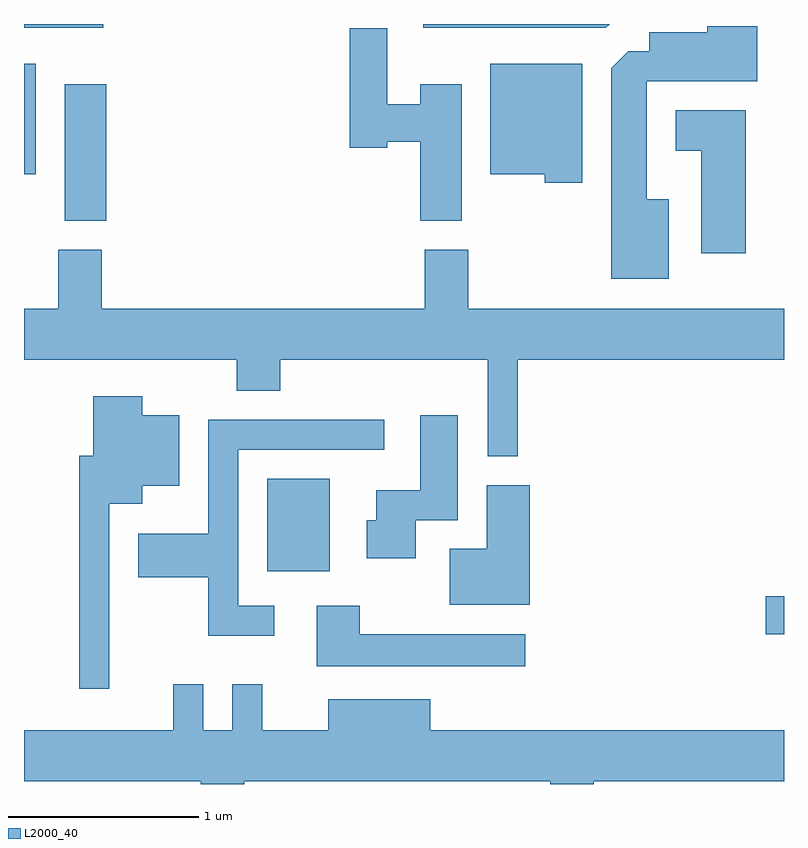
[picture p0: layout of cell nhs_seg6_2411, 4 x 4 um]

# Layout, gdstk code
import gdstk
lib = gdstk.Library(unit=1e-6, precision=1e-09)
def R(c, l, rs):  # rectangles x0, y0, x1, y1
    for r in rs: c.add(gdstk.rectangle(r[:2], r[2:], *l))
def P(c, l, *ps):  # polygons
    for p in ps: c.add(gdstk.Polygon(p, *l))
L2000_40 = (2000, 40)

nhs_seg6_2411 = lib.new_cell('nhs_seg6_2411')
R(nhs_seg6_2411, L2000_40, [(261.516,1632.951,261.611,1633.149), (258.891,1633.281,259.219,1633.769), (257.826,1635.126,258.044,1635.844), (257.611,1635.371,257.674,1635.954), (257.611,1636.141,258.028,1636.162)])
P(nhs_seg6_2411, L2000_40, [(260.695,1636.162),(259.712,1636.162),(259.712,1636.141),(260.674,1636.141)],
  [(261.004,1635.239),(260.889,1635.239),(260.889,1635.861),(261.469,1635.861),(261.469,1636.149),(261.206,1636.149),(261.206,1636.119),(260.901,1636.119),(260.901,1636.019),(260.791,1636.019),(260.701,1635.929),(260.701,1634.821),(261.004,1634.821)],
  [(259.914,1635.844),(259.696,1635.844),(259.696,1635.739),(259.524,1635.739),(259.524,1636.139),(259.326,1636.139),(259.326,1635.511),(259.524,1635.511),(259.524,1635.541),(259.696,1635.541),(259.696,1635.126),(259.914,1635.126)],
  [(260.549,1635.954),(260.066,1635.954),(260.066,1635.371),(260.351,1635.371),(260.351,1635.326),(260.549,1635.326)],
  [(261.409,1635.709),(261.041,1635.709),(261.041,1635.496),(261.176,1635.496),(261.176,1634.956),(261.409,1634.956)],
  [(257.791,1634.974),(257.791,1634.664),(257.611,1634.664),(257.611,1634.396),(258.731,1634.396),(258.731,1634.231),(258.959,1634.231),(258.959,1634.396),(260.051,1634.396),(260.051,1633.888),(260.209,1633.888),(260.209,1634.396),(261.611,1634.396),(261.611,1634.664),(259.949,1634.664),(259.949,1634.974),(259.721,1634.974),(259.721,1634.664),(258.019,1634.664),(258.019,1634.974)],
  [(258.059,1633.636),(258.234,1633.636),(258.234,1633.731),(258.429,1633.731),(258.429,1634.104),(258.234,1634.104),(258.234,1634.204),(257.976,1634.204),(257.976,1633.889),(257.901,1633.889),(257.901,1632.663),(258.059,1632.663)],
  [(259.674,1633.551),(259.894,1633.551),(259.894,1634.104),(259.696,1634.104),(259.696,1633.709),(259.466,1633.709),(259.466,1633.549),(259.416,1633.549),(259.416,1633.351),(259.674,1633.351)],
  [(258.928,1633.099),(258.739,1633.099),(258.739,1633.921),(259.508,1633.921),(259.508,1634.079),(258.581,1634.079),(258.581,1633.479),(258.211,1633.479),(258.211,1633.251),(258.581,1633.251),(258.581,1632.941),(258.928,1632.941)],
  [(260.274,1633.734),(260.046,1633.734),(260.046,1633.399),(259.851,1633.399),(259.851,1633.106),(260.274,1633.106)],
  [(260.248,1632.949),(259.379,1632.949),(259.379,1633.099),(259.151,1633.099),(259.151,1632.781),(260.248,1632.781)],
  [(258.769,1632.176),(260.381,1632.176),(260.381,1632.162),(260.609,1632.162),(260.609,1632.176),(261.611,1632.176),(261.611,1632.444),(259.749,1632.444),(259.749,1632.609),(259.211,1632.609),(259.211,1632.444),(258.864,1632.444),(258.864,1632.688),(258.706,1632.688),(258.706,1632.444),(258.554,1632.444),(258.554,1632.688),(258.396,1632.688),(258.396,1632.444),(257.611,1632.444),(257.611,1632.176),(258.541,1632.176),(258.541,1632.162),(258.769,1632.162)])

lib.write_gds('nhs_seg6_2411.gds')
